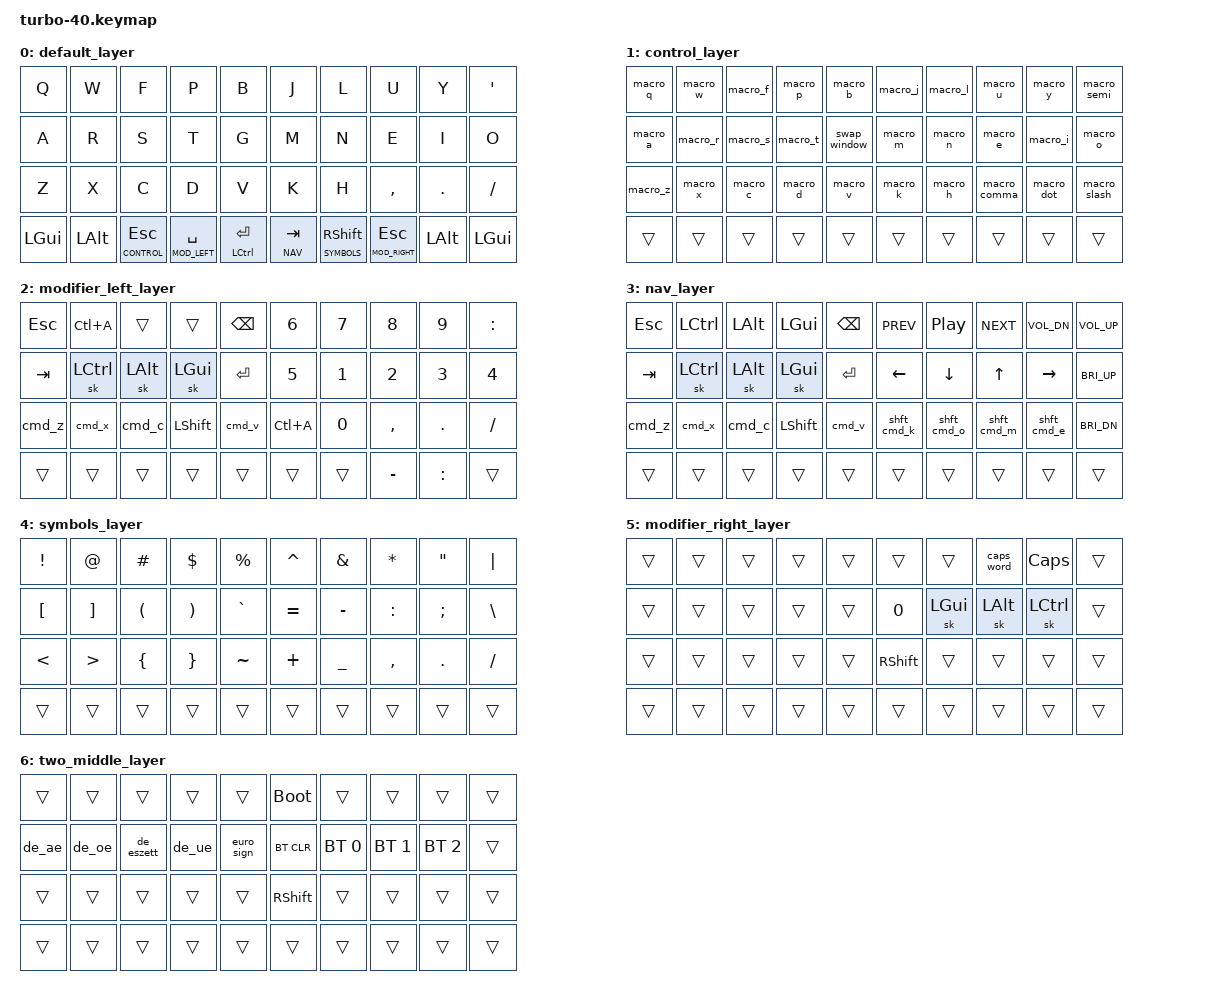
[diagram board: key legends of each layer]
/*
 * Copyright (c) 2020 The ZMK Contributors
 *
 * SPDX-License-Identifier: MIT
 */

#include <behaviors.dtsi>
#include <dt-bindings/zmk/keys.h>
#include <dt-bindings/zmk/bt.h>

#define HOST_OS 2
#include "../helper.h"

// key numbers
//    ╭────┬────┬────┬────┬────╮ ╭────┬────┬────┬────┬────╮
//    |  0 |  1 |  2 |  3 |  4 | |  5 |  6 |  7 |  8 |  9 |
//    ├────┼────┼────┼────┼────┤ ├────┼────┼────┼────┼────┤
//    | 10 | 11 | 12 | 13 | 14 | | 15 | 16 | 17 | 18 | 19 |
//    ├────┼────┼────┼────┼────┤ ├────┼────┼────┼────┼────┤
//    | 20 | 21 | 22 | 23 | 24 | | 25 | 26 | 27 | 28 | 29 |
//    ├────┼────┼────┼────┼────┤ ├────┼────┼────┼────┼────┤
//    | 30 | 31 | 32 | 33 | 34 | | 35 | 36 | 37 | 38 | 39 |
//    ╰────┴────┴────┴────┴────╯ ╰────┴────┴────┴────┴────╯

#define DEFAULT    0
#define CONTROL    1
#define MOD_LEFT   2
#define NAV        3
#define SYMBOLS    4
#define MOD_RIGHT  5
#define TWO_MIDDLE 6

/* German umlauts */
ZMK_UNICODE_PAIR(   de_ae,      N0, N0,  E, N4,    N0, N0,  C, N4)
ZMK_UNICODE_PAIR(   de_oe,      N0, N0,  F, N6,    N0, N0,  D, N6)
ZMK_UNICODE_PAIR(   de_ue,      N0, N0,  F,  C,    N0, N0,  D,  C)
ZMK_UNICODE_SINGLE( de_eszett,  N0, N0,  D,  F)

// euro sign
ZMK_UNICODE_SINGLE(euro_sign, N2, N0, A, C)  // €

#define CTRL_ALT_CMD_MACRO(NAME, KEY) \
        macro_##NAME: macro_##NAME { \
                label = "ZM_macro_##NAME"; \
                compatible = "zmk,behavior-macro"; \
                #binding-cells = <0>; \
                bindings \
                        = <&macro_press &kp LCTRL &kp LALT &kp LGUI> \
                        , <&macro_tap &kp KEY> \
                        , <&macro_release &kp LCTRL &kp LALT &kp LGUI> \
                                ; \
        };

#define MACRO(name, key)                   \
    name: name##_macro {                   \
        label = #name;                     \
        compatible = "zmk,behavior-macro"; \
        wait-ms = <1>;                     \
        tap-ms = <1>;                      \
        #binding-cells = <0>;              \
        bindings = <&macro_press &kp LCTRL &kp LALT &kp LGUI> \
                , <&macro_tap &kp key> \
                , <&macro_release &kp LCTRL &kp LALT &kp LGUI> ; \
    };

#define SHFT_CMD_MACRO(name, key)          \
    name: name##_shft_cmd_macro {                   \
        label = #name;                     \
        compatible = "zmk,behavior-macro"; \
        wait-ms = <1>;                     \
        tap-ms = <1>;                      \
        #binding-cells = <0>;              \
        bindings = <&macro_press &kp LSHFT &kp LGUI> \
                , <&macro_tap &kp key> \
                , <&macro_release &kp LSHFT &kp LGUI> ; \
    };

/ {
        macros {
                macro_jk: macro_jk {
                        label = "ZM_macro_jk";
                        compatible = "zmk,behavior-macro";
                        #binding-cells = <0>;
                        bindings
                                = <&macro_tap &kp J>
                                , <&macro_tap &kp K>
                                ;
                };
                cmd_z: cmd_z {
                        label = "ZM_cmd_z";
                        compatible = "zmk,behavior-macro";
                        #binding-cells = <0>;
                        bindings
                                = <&macro_press &kp LGUI>
                                , <&macro_tap &kp Z>
                                , <&macro_release &kp LGUI>
                                ;
                };
                cmd_x: cmd_x {
                        label = "ZM_cmd_x";
                        compatible = "zmk,behavior-macro";
                        #binding-cells = <0>;
                        bindings
                                = <&macro_press &kp LGUI>
                                , <&macro_tap &kp X>
                                , <&macro_release &kp LGUI>
                                ;
                };
                cmd_c: cmd_c {
                        label = "ZM_cmd_c";
                        compatible = "zmk,behavior-macro";
                        #binding-cells = <0>;
                        bindings
                                = <&macro_press &kp LGUI>
                                , <&macro_tap &kp C>
                                , <&macro_release &kp LGUI>
                                ;
                };
                cmd_v: cmd_v {
                        label = "cmd_v";
                        compatible = "zmk,behavior-macro";
                        #binding-cells = <0>;
                        bindings
                                = <&macro_press &kp LGUI>
                                , <&macro_tap &kp V>
                                , <&macro_release &kp LGUI>
                                ;
                };
                MACRO(macro_a, A)
                MACRO(macro_s, S)
                MACRO(macro_d, D)
                MACRO(macro_f, F)
                MACRO(macro_g, G)
                MACRO(macro_z, Z)
                MACRO(macro_x, X)
                MACRO(macro_c, C)
                MACRO(macro_v, V)
                MACRO(macro_b, B)
                MACRO(macro_q, Q)
                MACRO(macro_w, W)
                MACRO(macro_e, E)
                MACRO(macro_r, R)
                MACRO(macro_t, T)
                MACRO(macro_y, Y)
                MACRO(macro_u, U)
                MACRO(macro_i, I)
                MACRO(macro_o, O)
                MACRO(macro_p, P)
                MACRO(macro_h, H)
                MACRO(macro_j, J)
                MACRO(macro_k, K)
                MACRO(macro_l, L)
                MACRO(macro_single_quote, SINGLE_QUOTE)
                MACRO(macro_semi, SEMI)
                MACRO(macro_n, N)
                MACRO(macro_m, M)
                MACRO(macro_comma, COMMA)
                MACRO(macro_dot, DOT)
                MACRO(macro_slash, SLASH)

                SHFT_CMD_MACRO(shft_cmd_k, K) // raise / lower hand in teams calls
                SHFT_CMD_MACRO(shft_cmd_o, O) // enable / disable camera in teams calls
                SHFT_CMD_MACRO(shft_cmd_m, M) // mute / unmute mic in teams calls
                SHFT_CMD_MACRO(shft_cmd_e, E) // share screen in teams calls
        };
        conditional_layers {
          compatible = "zmk,conditional-layers";
          both_layer {
            if-layers = <MOD_LEFT SYMBOLS>;
            then-layer = <TWO_MIDDLE>;
          };
        };
        combos {
                compatible = "zmk,combos";
                combo_esc {
                        timeout-ms = <50>;
                        key-positions = <1 2>;
                        bindings = <&kp ESC>;
                };
                combo_backspace {
                        timeout-ms = <50>;
                        key-positions = <7 8>;
                        bindings = <&kp BSPC>;
                };
                combo_delete {
                        timeout-ms = <50>;
                        key-positions = <8 9>;
                        bindings = <&kp DEL>;
                };
                combo_tab {
                        timeout-ms = <50>;
                        key-positions = <21 22>;
                        bindings = <&kp TAB>;
                };
                combo_enter {
                        timeout-ms = <50>;
                        key-positions = <27 28>;
                        bindings = <&kp RET>;
                };
//                combo_caps_word {
//                        timeout-ms = <50>;
//                        key-positions = <25 26>;
//                        bindings = <&caps_word>;
//                };
//                combo_ctrl_a {
//                        timeout-ms = <50>;
//                        key-positions = <13 14>;
//                        bindings = <&kp LC(A)>;
//                };
//                combo_semi {
//                        timeout-ms = <50>;
//                        key-positions = <21 22>;
//                        bindings = <&kp SEMI>;
//                };
//                combo_bslh {
//                        timeout-ms = <50>;
//                        key-positions = <33 34>;
//                        bindings = <&kp BSLH>;
//                };
        };
        ht_bl: hold_tap_balanced {
                compatible = "zmk,behavior-hold-tap";
                label = "HOLD_TAP_BALANCED";
                #binding-cells = <2>;
                flavor = "balanced";
                tapping-term-ms = <200>;
                quick-tap-ms = <200>;
                bindings = <&kp>, <&kp>;
        };
        behaviors {
                skq: behavior_sk_quick_release {
                        compatible = "zmk,behavior-sticky-key";
                        label = "BEHAVIOR_SKQ";
                        #binding-cells = <1>;
                        bindings = <&kp>;
                        release-after-ms = <1000>;
                        quick-release;
                        ignore-modifiers;
                };
                mo_sk: behavior_mo_sk {
                        compatible = "zmk,behavior-hold-tap";
                        label = "BEHAVIOR_MO_SK";
                        #binding-cells = <2>;
                        flavor = "balanced";
                        tapping-term-ms = <200>;
                        quick-tap-ms = <200>;
                        bindings = <&mo>, <&skq>;
                };
                swap_window: swap_window {
                        compatible = "zmk,behavior-tri-state";
                        label = "SWAPPER";
                        #binding-cells = <0>;
                        bindings = <&kt LALT>, <&kp N>, <&kt LALT>;
                };
        };
        keymap {
                compatible = "zmk,keymap";

                default_layer {
                  bindings = <
                    // colemak dh layout
                    // ╭────┬────┬────┬────┬────╮ ╭────┬────┬────┬────┬────╮
                    // |  Q |  W |  F |  P |  B | |  J |  L |  U |  Y |  ' |
                    // ├────┼────┼────┼────┼────┤ ├────┼────┼────┼────┼────┤
                    // |  A |  R |  S |  T |  G | |  M |  N |  E |  I |  O |
                    // ├────┼────┼────┼────┼────┤ ├────┼────┼────┼────┼────┤
                    // |  Z |  X |  C |  D |  V | |  K |  H |  , |  . |  / |
                    // ├────┼────┼────┼────┼────┤ ├────┼────┼────┼────┼────┤
                    // |    |    |    |    |    | |    |    |    |    |    |
                    // ╰────┴────┴────┴────┴────╯ ╰────┴────┴────┴────┴────╯

                    &kp Q     &kp W     &kp F             &kp P               &kp B               &kp J         &kp L                 &kp U                   &kp Y     &kp SQT
                    &kp A     &kp R     &kp S             &kp T               &kp G               &kp M         &kp N                 &kp E                   &kp I     &kp O
                    &kp Z     &kp X     &kp C             &kp D               &kp V               &kp K         &kp H                 &kp COMMA               &kp DOT   &kp FSLH
                    &kp LGUI  &kp LALT  &lt CONTROL ESC   &lt MOD_LEFT SPACE  &mt LCTRL RET       &lt NAV TAB   &mo_sk SYMBOLS RSHFT  &lt MOD_RIGHT ESC       &kp LALT  &kp LGUI

                    // comment the above lines and uncomment the below lines to use a normal qwerty layout

                    // &kp Q     &kp W     &kp E             &kp R               &kp T               &kp Y         &kp U                 &kp I                   &kp O     &kp P
                    // &kp A     &kp S     &kp D             &kp F               &kp G               &kp H         &kp J                 &kp K                   &kp L     &kp SEMI
                    // &kp Z     &kp X     &kp C             &kp V               &kp B               &kp M         &kp N                 &kp COMMA               &kp DOT   &kp FSLH
                    // &kp LGUI  &kp LALT  &lt CONTROL ESC   &lt MOD_LEFT SPACE  &mt LCTRL RET       &lt NAV TAB   &mo_sk SYMBOLS RSHFT  &lt MOD_RIGHT ESC       &kp LALT  &kp LGUI

                  >;
                };

                control_layer {
                  bindings = <
                    &macro_q  &macro_w  &macro_f  &macro_p  &macro_b      &macro_j  &macro_l  &macro_u      &macro_y    &macro_semi
                    &macro_a  &macro_r  &macro_s  &macro_t  &swap_window      &macro_m  &macro_n  &macro_e      &macro_i    &macro_o
                    &macro_z  &macro_x  &macro_c  &macro_d  &macro_v      &macro_k  &macro_h  &macro_comma  &macro_dot  &macro_slash
                    &trans    &trans    &trans    &trans    &trans        &trans    &trans    &trans        &trans      &trans
                  >;
                };

                modifier_left_layer {
                  bindings = <
                    //      ╭─────────┬─────────┬─────────┬─────────┬─────────╮ ╭─────────┬─────────┬─────────┬─────────┬─────────╮
                    //      | ESC     | CTRL A  |         |         | BSPC    | | 6       | 7       | 8       | 9       | :       |
                    //      ├─────────┼─────────┼─────────┼─────────┼─────────┤ ├─────────┼─────────┼─────────┼─────────┼─────────┤
                    //      | TAB     | OS CTRL | OS ALT  | OS GUI  | RET     | | 5       | 1       | 2       | 3       | 4       |
                    //      ├─────────┼─────────┼─────────┼─────────┼─────────┤ ├─────────┼─────────┼─────────┼─────────┼─────────┤
                    //      | CMD Z   | CMD X   | CMD C   | SHIFT   | CMD V   | | = +     | 0       | ,       | .       | / |     |
                    //      ├─────────┼─────────┼─────────┼─────────┼─────────┤ ├─────────┼─────────┼─────────┼─────────┼─────────┤
                    //      |         |         |         |         |         | |         |         | - _     | :       |         |
                    //      ╰─────────┴─────────┴─────────────────────────────╯ ╰─────────────────────────────┴─────────┴─────────╯

                    &kp ESC   &kp LC(A)   &trans    &trans      &kp BSPC     &kp N6    &kp N7  &kp N8      &kp N9     &kp COLON
                    &kp TAB   &sk LCTRL   &sk LALT  &sk LGUI    &kp RET      &kp N5    &kp N1  &kp N2      &kp N3     &kp N4
                    &cmd_z    &cmd_x      &cmd_c    &kp LSHIFT  &cmd_v       &kp LC(A) &kp N0  &kp COMMA   &kp DOT    &kp SLASH
                    &trans    &trans      &trans    &trans      &trans       &trans    &trans  &kp MINUS   &kp COLON  &trans 
                  >;
                };

                nav_layer {
                  bindings = <
                    &kp ESC   &kp LCTRL   &kp LALT  &kp LGUI    &kp BSPC      &kp C_PREV  &kp C_PP    &kp C_NEXT  &kp C_VOL_DN  &kp C_VOL_UP
                    &kp TAB   &sk LCTRL   &sk LALT  &sk LGUI    &kp RET       &kp LEFT    &kp DOWN    &kp UP      &kp RIGHT     &kp C_BRI_UP
                    &cmd_z    &cmd_x      &cmd_c    &kp LSHIFT  &cmd_v        &shft_cmd_k &shft_cmd_o &shft_cmd_m &shft_cmd_e   &kp C_BRI_DN
                    &trans    &trans      &trans    &trans      &trans        &trans      &trans      &trans      &trans        &trans  
                  >;
                };

                symbols_layer {
                  bindings = <
                    &kp EXCL    &kp AT    &kp HASH  &kp DLLR  &kp PERCENT     &kp CARET   &kp AMPS    &kp STAR    &kp DQT   &kp PIPE
                    &kp LBKT    &kp RBKT  &kp LPAR  &kp RPAR  &kp GRAVE       &kp EQUAL   &kp MINUS   &kp COLON   &kp SEMI  &kp BSLH
                    &kp LT      &kp GT    &kp LBRC  &kp RBRC  &kp TILDE       &kp PLUS    &kp UNDER   &kp COMMA   &kp DOT   &kp FSLH
                    &trans      &trans    &trans    &trans    &trans          &trans      &trans      &trans      &trans    &trans        
                                            >;
                };

                modifier_right_layer {
                  bindings = <
//      ╭─────────┬─────────┬─────────┬─────────┬─────────╮ ╭─────────┬─────────┬─────────┬─────────┬─────────╮
// NONE |         |         |         |         |         | |         |         |CAPS_WORD|CAPS_LOCK|         | NONE
//      ├─────────┼─────────┼─────────┼─────────┼─────────┤ ├─────────┼─────────┼─────────┼─────────┼─────────┤
// NONE |         |         |         |         |         | |         | OS GUI  | OS ALT  | OS CTRL |         | NONE
//      ├─────────┼─────────┼─────────┼─────────┼─────────┤ ├─────────┼─────────┼─────────┼─────────┼─────────┤
// NONE |         |         |         |         |         | | SHIFT   |         |         |         |         | NONE
//      ╰─────────┴─────────┼─────────┼─────────┼─────────┤ ├─────────┼─────────┼─────────┼─────────┴─────────╯
//                          |         |         |         | |         |         |         |
//                          ╰─────────┴─────────┴─────────╯ ╰─────────┴─────────┴─────────╯


                    &trans   &trans   &trans   &trans   &trans     &trans       &trans     &caps_word   &kp CAPSLOCK   &trans
                    &trans   &trans   &trans   &trans   &trans     &kp N0       &sk LGUI   &sk LALT     &sk LCTRL      &trans
                    &trans   &trans   &trans   &trans   &trans     &kp RSHIFT   &trans     &trans       &trans         &trans
                    &trans   &trans   &trans   &trans   &trans     &trans       &trans     &trans       &trans         &trans
                  >;
                };

                two_middle_layer {
                  bindings = <
                    &trans  &trans      &trans  &trans  &trans        &bootloader      &trans        &trans        &trans        &trans
                    &de_ae  &de_oe  &de_eszett  &de_ue  &euro_sign    &bt BT_CLR  &bt BT_SEL 0  &bt BT_SEL 1  &bt BT_SEL 2  &trans
                    &trans  &trans      &trans  &trans  &trans        &kp RSHIFT  &trans        &trans        &trans        &trans
                    &trans  &trans      &trans  &trans  &trans        &trans      &trans        &trans        &trans        &trans  
                  >;
                };
        };
};
